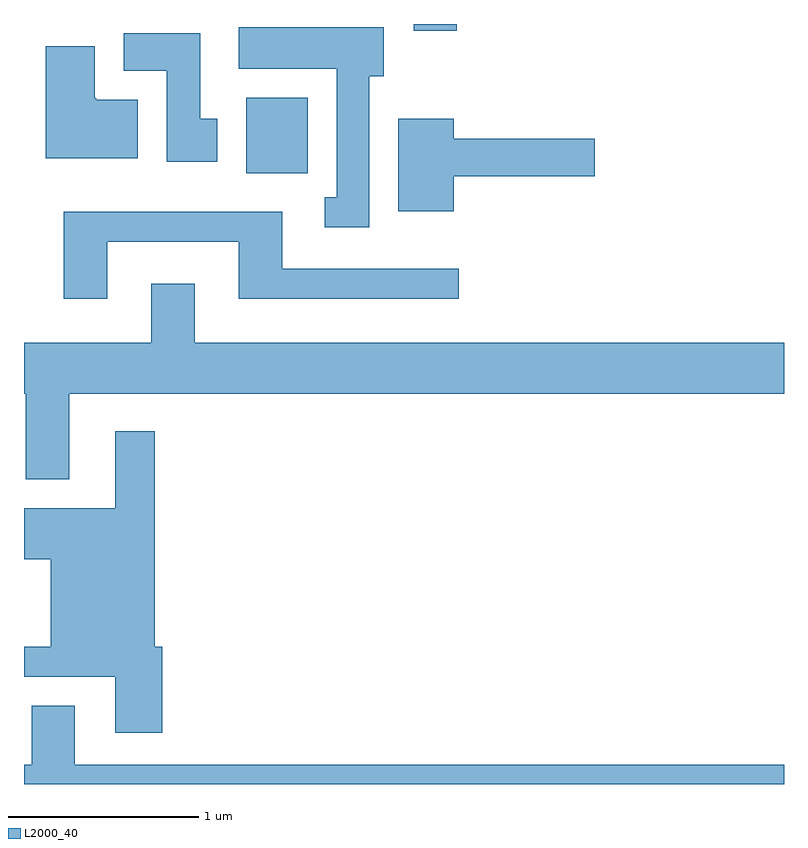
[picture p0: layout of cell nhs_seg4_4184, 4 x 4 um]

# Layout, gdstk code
import gdstk
lib = gdstk.Library(unit=1e-6, precision=1e-09)
def R(c, l, rs):  # rectangles x0, y0, x1, y1
    for r in rs: c.add(gdstk.rectangle(r[:2], r[2:], *l))
def P(c, l, *ps):  # polygons
    for p in ps: c.add(gdstk.Polygon(p, *l))
L2000_40 = (2000, 40)

nhs_seg4_4184 = lib.new_cell('nhs_seg4_4184')
R(nhs_seg4_4184, L2000_40, [(308.781,1329.196,309.104,1329.594), (309.661,1329.946,309.889,1329.982)])
P(nhs_seg4_4184, L2000_40, [(309.429,1329.706),(309.504,1329.706),(309.504,1329.964),(308.741,1329.964),(308.741,1329.746),(309.256,1329.746),(309.256,1329.069),(309.193,1329.069),(309.193,1328.911),(309.429,1328.911)],
  [(308.629,1329.484),(308.539,1329.484),(308.539,1329.934),(308.136,1329.934),(308.136,1329.736),(308.361,1329.736),(308.361,1329.256),(308.629,1329.256)],
  [(308.209,1329.584),(307.99,1329.584),(307.99,1329.59),(307.984,1329.59),(307.984,1329.864),(307.726,1329.864),(307.726,1329.276),(308.209,1329.276)],
  [(309.874,1329.181),(310.614,1329.181),(310.614,1329.379),(309.874,1329.379),(309.874,1329.484),(309.581,1329.484),(309.581,1328.996),(309.874,1328.996)],
  [(308.049,1328.836),(308.741,1328.836),(308.741,1328.536),(309.898,1328.536),(309.898,1328.694),(308.969,1328.694),(308.969,1328.994),(307.821,1328.994),(307.821,1328.536),(308.049,1328.536)],
  [(307.849,1328.036),(311.611,1328.036),(311.611,1328.304),(308.509,1328.304),(308.509,1328.614),(308.281,1328.614),(308.281,1328.304),(307.611,1328.304),(307.611,1328.036),(307.621,1328.036),(307.621,1327.586),(307.849,1327.586)],
  [(308.339,1326.704),(308.299,1326.704),(308.299,1327.839),(308.091,1327.839),(308.091,1327.434),(307.611,1327.434),(307.611,1327.166),(307.751,1327.166),(307.751,1326.704),(307.611,1326.704),(307.611,1326.546),(308.091,1326.546),(308.091,1326.251),(308.339,1326.251)],
  [(311.611,1326.084),(307.879,1326.084),(307.879,1326.394),(307.651,1326.394),(307.651,1326.084),(307.611,1326.084),(307.611,1325.982),(311.611,1325.982)])

lib.write_gds('nhs_seg4_4184.gds')
